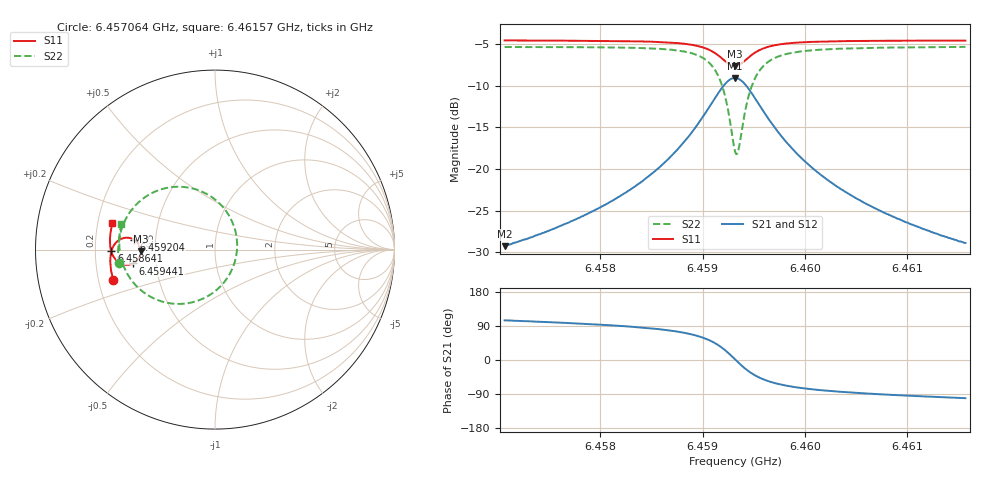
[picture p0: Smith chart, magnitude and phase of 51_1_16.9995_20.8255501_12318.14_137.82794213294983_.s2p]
#  HZ  S  RI  R  50.00
! Rohde & Schwarz Vector Network Analyzer
! Rohde-Schwarz,ZNB20-2Port,1311601062101988,3.16
! Created: UTC 3/20/2024, 10:54:18 PM
! freq[Hz]  re:S11  im:S11  re:S21  im:S21  re:S12  im:S12  re:S22  im:S22
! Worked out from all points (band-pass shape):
!   401 points, 6.457064 GHz to 6.46157 GHz, reference 50 ohm
!   highest |S21| = -9.06 dB at 6.459317 GHz (marker M1); lowest = -29.3 dB at 6.457064 GHz (marker M2)
!   |S21| within 3 dB of the highest: 6.459091 GHz to 6.459542 GHz (450.8 kHz wide, 0.00698 % of centre)
!   lowest |S11| = -7.7 dB at 6.459317 GHz (marker M3), VSWR 2.41, Z = 20.7 - j0.491 ohm
!   |S11| at or under -10 dB: nowhere
!   |S22| runs from -18.2 to -5.3 dB; largest |S21 - S12| = 0.014
!   S11 on the Smith chart (normalised r, x): 6.457064 GHz: 0.26, -0.13; 6.458641 GHz: 0.27, -0.01; 6.459204 GHz: 0.38, +0.05; 6.459441 GHz: 0.37, -0.07; 6.46157 GHz: 0.26, +0.12
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6.457064e9  -0.5679 -0.1669  -0.00866 0.0332  -0.00691 0.0332  -0.535 -0.0761
6.4578187e9  -0.5811 -0.1004  -0.00513 0.0516  -0.00259 0.0508  -0.5389 0.0136
6.4582354e9  -0.5836 -0.0582  0.00101 0.0713  0.00432 0.0699  -0.5297 0.0808
6.4585734e9  -0.5792 -0.0173  0.0152 0.1005  0.0193 0.0978  -0.503 0.1588
6.4586409e9  -0.5769 -0.00778  0.0208 0.1092  0.0249 0.1058  -0.4925 0.1789
6.4588324e9  -0.564 0.0227  0.0481 0.1406  0.0522 0.1355  -0.4412 0.2483
6.4589789e9  -0.5407 0.049  0.0946 0.1715  0.0977 0.1646  -0.3555 0.3129
6.459114e9  -0.4959 0.0662  0.1838 0.1875  0.1845 0.1801  -0.1925 0.3502
6.4592041e9  -0.4503 0.0552  0.2752 0.1548  0.2755 0.149  -0.0233 0.2963
6.4592717e9  -0.4208 0.0221  0.3363 0.0808  0.3385 0.0756  0.0926 0.1624
6.4593168e9  -0.414 -0.00982  0.3521 0.0113  0.356 0.00423  0.1235 0.0324
6.4593506e9  -0.4183 -0.034  0.3459 -0.0421  0.3498 -0.0513  0.1104 -0.0686
6.4593956e9  -0.4343 -0.0606  0.316 -0.1028  0.3182 -0.1149  0.0499 -0.1831
6.4594407e9  -0.4569 -0.0771  0.2726 -0.144  0.2719 -0.1575  -0.0377 -0.258
6.4595308e9  -0.5011 -0.0842  0.1862 -0.1749  0.1799 -0.1866  -0.2099 -0.3027
6.4595984e9  -0.5258 -0.0768  0.1372 -0.1723  0.1291 -0.1814  -0.3045 -0.2864
6.4596772e9  -0.5457 -0.0636  0.0971 -0.1601  0.0885 -0.1663  -0.3795 -0.2508
6.4598349e9  -0.5677 -0.0359  0.0517 -0.1314  0.0439 -0.1341  -0.4604 -0.1771
6.4600714e9  -0.5805 -0.00047  0.0223 -0.0991  0.0163 -0.0996  -0.5082 -0.0934
6.4603868e9  -0.5853 0.0378  0.00683 -0.0731  0.00255 -0.0726  -0.5288 -0.0184
6.4608261e9  -0.5836 0.0826  -0.0015 -0.0528  -0.00441 -0.052  -0.5335 0.0542
6.4615695e9  -0.5719 0.1487  -0.00667 -0.0353  -0.0084 -0.0342  -0.5223 0.1432
